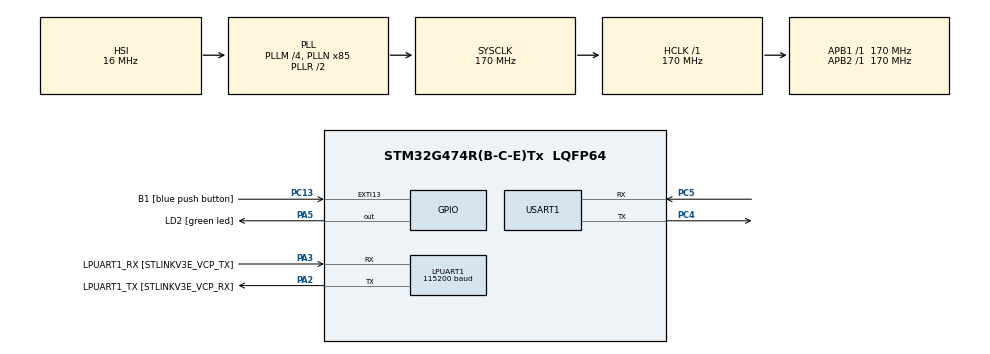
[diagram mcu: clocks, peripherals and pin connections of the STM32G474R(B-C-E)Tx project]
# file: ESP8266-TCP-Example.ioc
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Mcu.Family=STM32G4
PC15-OSC32_OUT.Mode=LSE-External-Oscillator
RCC.CortexFreq_Value=170000000
PC13.Signal=GPXTI13
PA14.GPIO_Label=T_SWCLK
PC4.Signal=USART1_TX
LPUART1.WordLength=UART_WORDLENGTH_8B
RCC.EXTERNAL_CLOCK_VALUE=12288000
PC5.Mode=Asynchronous
PC13.GPIO_Label=B1 [blue push button]
PC14-OSC32_IN.Signal=RCC_OSC32_IN
RCC.SYSCLKSource=RCC_SYSCLKSOURCE_PLLCLK
ProjectManager.StackSize=0x400
USART1.VirtualMode-Asynchronous=VM_ASYNC
PA13.Signal=SYS_JTMS-SWDIO
PA3.Mode=Asynchronous
ProjectManager.TargetToolchain=STM32CubeIDE
RCC.HCLKFreq_Value=170000000
RCC.APB2TimFreq_Value=170000000
RCC.USBFreq_Value=170000000
PC15-OSC32_OUT.Signal=RCC_OSC32_OUT
RCC.AHBFreq_Value=170000000
PF0-OSC_IN.Mode=HSE-External-Oscillator
NVIC.EXTI15_10_IRQn=true\:0\:0\:false\:false\:true\:true\:true
PA5.Signal=GPIO_Output
RCC.HSE_VALUE=24000000
board=NUCLEO-G474RE
RCC.VCOOutputFreq_Value=340000000
RCC.ADC12Freq_Value=170000000
RCC.RTCClockSelection=RCC_RTCCLKSOURCE_LSE
RCC.ADC345Freq_Value=170000000
RCC.APB2Freq_Value=170000000
PC14-OSC32_IN.Mode=LSE-External-Oscillator
PA14.Mode=Serial_Wire
VP_SYS_VS_DBSignals.Mode=DisableDeadBatterySignals
PA13.Mode=Serial_Wire
Mcu.Name=STM32G474R(B-C-E)Tx
LPUART1.BaudRate=115200
PA2.Signal=LPUART1_TX
PA13.GPIO_Label=T_SWDIO
PB3.Signal=SYS_JTDO-SWO
RCC.SYSCLKFreq_VALUE=170000000
Mcu.Package=LQFP64
PA5.GPIO_Label=LD2 [green led]
PA2.GPIO_Label=LPUART1_TX [STLINKV3E_VCP_RX]
PA14.Signal=SYS_JTCK-SWCLK
ProjectManager.HeapSize=0x200
RCC.HSI_VALUE=16000000
NVIC.PriorityGroup=NVIC_PRIORITYGROUP_4
RCC.PLLM=RCC_PLLM_DIV4
RCC.PLLN=85
RCC.APB1TimFreq_Value=170000000
PA2.Mode=Asynchronous
PC5.Signal=USART1_RX
PF0-OSC_IN.Signal=RCC_OSC_IN
NVIC.USART1_IRQn=true\:0\:0\:false\:false\:true\:true\:true
PF1-OSC_OUT.Mode=HSE-External-Oscillator
RCC.APB1Freq_Value=170000000
PF1-OSC_OUT.Signal=RCC_OSC_OUT
PC4.Mode=Asynchronous
RCC.HSI48_VALUE=48000000
PA3.GPIO_Label=LPUART1_RX [STLINKV3E_VCP_TX]
PA3.Signal=LPUART1_RX
PB3.GPIO_Label=T_SWO

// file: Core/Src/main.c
/* USER CODE BEGIN Header */
/**
  ******************************************************************************
  * @file           : main.c
  * @brief          : Main program body
  ******************************************************************************
  * @attention
  *
  * <h2><center>&copy; Copyright (c) 2022 STMicroelectronics.
  * All rights reserved.</center></h2>
  *
  * This software component is licensed by ST under BSD 3-Clause license,
  * the "License"; You may not use this file except in compliance with the
  * License. You may obtain a copy of the License at:
  *                        opensource.org/licenses/BSD-3-Clause
  *
  ******************************************************************************
  */
/* USER CODE END Header */
#include "main.h"

/* USER CODE BEGIN Includes */
#include <string.h>
#include "esp8266.h"
/* USER CODE END Includes */

UART_HandleTypeDef hlpuart1;
UART_HandleTypeDef huart1;

void SystemClock_Config(void);
static void MX_GPIO_Init(void);
static void MX_LPUART1_UART_Init(void);
static void MX_USART1_UART_Init(void);

/* USER CODE BEGIN 0 */

void UART_SendMessage(uint8_t* messageArray)
{

	while(*messageArray)
	{
		USART1->TDR = *messageArray++;
		while(!(USART1->ISR & (1<<6)));		// wait for transmit register(TC) to set.
	}
/* with HAL drivers-----------------------*/
//	HAL_UART_Transmit(&huart1, messageArray, strlen((char*)messageArray), HAL_MAX_DELAY);
}
uint8_t UART_ReceiveByte(void)
{

	return USART1->RDR;
/* with HAL drivers-----------------------*/
//	uint8_t buffer[10];
//
//	HAL_UART_Receive(&huart1, &buffer, 1, HAL_MAX_DELAY);
//
//	return buffer[0];
}

void USART1_IRQHandler(void)
{
	  if(!(USART2->ISR & (1<<5)))			// rx interrupt
	  {
		 ESP_UART_ReceiveHandler(); 		// ESP receive handler function.
	  }
}
/* USER CODE END 0 */

int main(void)
{

  /* MCU Configuration--------------------------------------------------------*/

  /* Reset of all peripherals, Initializes the Flash interface and the Systick. */
  HAL_Init();

  /* Configure the system clock */
  SystemClock_Config();

  /* Initialize all configured peripherals */
  MX_GPIO_Init();
  MX_LPUART1_UART_Init();
  MX_USART1_UART_Init();

  /* Infinite loop */
  /* USER CODE BEGIN WHILE */
  while(!HAL_GPIO_ReadPin(B1_GPIO_Port, B1_Pin));		// Start button

  USART1->CR1 |= (1<<5); // rx interrupt enable

  ESP_Init(UART_SendMessage,	// UART transmit function
		  UART_ReceiveByte,		// UART receive function
		  HAL_GetTick,			// get tick function
		  255					// UART ring buffer size
		  );

  while(1)
  {
	  Status connectionStatus = Connect_Wifi("İZZETPASA", "misafir3434");

	  if(connectionStatus == STATUS_OK)
		  break;
	  else if(connectionStatus == STATUS_ERROR || connectionStatus == TIMEOUT_ERROR)
	  {
		  Error_Handler();
	  }
  }

  while(Connect_TCP_Server("192.168.88.183", "255") == IDLE);

  while(Send_TCP_Message("Test message") == IDLE);

  char receivedCommand[50];
  while (1)
  {
	  if(Read_TCP_Message(receivedCommand) == STATUS_OK)
	  {

		  if(strcmp(receivedCommand,"MOTOR_ON") == 0)
		  {
			  while(Send_TCP_Message("MOTOR_ON command has been detected.\n") == IDLE);

			  	  	  	  	  	  // do something else
		  }
		  else if(strcmp(receivedCommand,"MOTOR_OFF") == 0)
		  {
			  while(Send_TCP_Message("MOTOR_OFF command has been detected.\n") == IDLE);
			  	  	  	  	  	  	  	  // do something else
		  }
		  else if(strcmp(receivedCommand,"LED_ON") == 0)
		  {
			  HAL_GPIO_WritePin(LD2_GPIO_Port, LD2_Pin, 1);
		  }
		  else if(strcmp(receivedCommand,"LED_OFF") == 0)
		  {
			  HAL_GPIO_WritePin(LD2_GPIO_Port, LD2_Pin, 0);
		  }
		  else
		  {
			  while(Send_TCP_Message("Invalid command!\n") == IDLE);
		  }
		  memset(receivedCommand,0,50);		// clear the received command buffer
	  }

	  HAL_Delay(100);

    /* USER CODE END WHILE */

  }
}

void SystemClock_Config(void)
{
  RCC_OscInitTypeDef RCC_OscInitStruct = {0};
  RCC_ClkInitTypeDef RCC_ClkInitStruct = {0};
  RCC_PeriphCLKInitTypeDef PeriphClkInit = {0};

  /** Configure the main internal regulator output voltage
  */
  HAL_PWREx_ControlVoltageScaling(PWR_REGULATOR_VOLTAGE_SCALE1_BOOST);
  /** Initializes the RCC Oscillators according to the specified parameters
  * in the RCC_OscInitTypeDef structure.
  */
  RCC_OscInitStruct.OscillatorType = RCC_OSCILLATORTYPE_HSI;
  RCC_OscInitStruct.HSIState = RCC_HSI_ON;
  RCC_OscInitStruct.HSICalibrationValue = RCC_HSICALIBRATION_DEFAULT;
  RCC_OscInitStruct.PLL.PLLState = RCC_PLL_ON;
  RCC_OscInitStruct.PLL.PLLSource = RCC_PLLSOURCE_HSI;
  RCC_OscInitStruct.PLL.PLLM = RCC_PLLM_DIV4;
  RCC_OscInitStruct.PLL.PLLN = 85;
  RCC_OscInitStruct.PLL.PLLP = RCC_PLLP_DIV2;
  RCC_OscInitStruct.PLL.PLLQ = RCC_PLLQ_DIV2;
  RCC_OscInitStruct.PLL.PLLR = RCC_PLLR_DIV2;
  if (HAL_RCC_OscConfig(&RCC_OscInitStruct) != HAL_OK)
  {
    Error_Handler();
  }
  /** Initializes the CPU, AHB and APB buses clocks
  */
  RCC_ClkInitStruct.ClockType = RCC_CLOCKTYPE_HCLK|RCC_CLOCKTYPE_SYSCLK
                              |RCC_CLOCKTYPE_PCLK1|RCC_CLOCKTYPE_PCLK2;
  RCC_ClkInitStruct.SYSCLKSource = RCC_SYSCLKSOURCE_PLLCLK;
  RCC_ClkInitStruct.AHBCLKDivider = RCC_SYSCLK_DIV1;
  RCC_ClkInitStruct.APB1CLKDivider = RCC_HCLK_DIV1;
  RCC_ClkInitStruct.APB2CLKDivider = RCC_HCLK_DIV1;

  if (HAL_RCC_ClockConfig(&RCC_ClkInitStruct, FLASH_LATENCY_4) != HAL_OK)
  {
    Error_Handler();
  }
  /** Initializes the peripherals clocks
  */
  PeriphClkInit.PeriphClockSelection = RCC_PERIPHCLK_USART1|RCC_PERIPHCLK_LPUART1;
  PeriphClkInit.Usart1ClockSelection = RCC_USART1CLKSOURCE_PCLK2;
  PeriphClkInit.Lpuart1ClockSelection = RCC_LPUART1CLKSOURCE_PCLK1;
  if (HAL_RCCEx_PeriphCLKConfig(&PeriphClkInit) != HAL_OK)
  {
    Error_Handler();
  }
}

static void MX_LPUART1_UART_Init(void)
{

  hlpuart1.Instance = LPUART1;
  hlpuart1.Init.BaudRate = 115200;
  hlpuart1.Init.WordLength = UART_WORDLENGTH_8B;
  hlpuart1.Init.StopBits = UART_STOPBITS_1;
  hlpuart1.Init.Parity = UART_PARITY_NONE;
  hlpuart1.Init.Mode = UART_MODE_TX_RX;
  hlpuart1.Init.HwFlowCtl = UART_HWCONTROL_NONE;
  hlpuart1.Init.OneBitSampling = UART_ONE_BIT_SAMPLE_DISABLE;
  hlpuart1.Init.ClockPrescaler = UART_PRESCALER_DIV1;
  hlpuart1.AdvancedInit.AdvFeatureInit = UART_ADVFEATURE_NO_INIT;
  if (HAL_UART_Init(&hlpuart1) != HAL_OK)
  {
    Error_Handler();
  }
  if (HAL_UARTEx_SetTxFifoThreshold(&hlpuart1, UART_TXFIFO_THRESHOLD_1_8) != HAL_OK)
  {
    Error_Handler();
  }
  if (HAL_UARTEx_SetRxFifoThreshold(&hlpuart1, UART_RXFIFO_THRESHOLD_1_8) != HAL_OK)
  {
    Error_Handler();
  }
  if (HAL_UARTEx_DisableFifoMode(&hlpuart1) != HAL_OK)
  {
    Error_Handler();
  }

}

static void MX_USART1_UART_Init(void)
{

  huart1.Instance = USART1;
  huart1.Init.BaudRate = 115200;
  huart1.Init.WordLength = UART_WORDLENGTH_8B;
  huart1.Init.StopBits = UART_STOPBITS_1;
  huart1.Init.Parity = UART_PARITY_NONE;
  huart1.Init.Mode = UART_MODE_TX_RX;
  huart1.Init.HwFlowCtl = UART_HWCONTROL_NONE;
  huart1.Init.OverSampling = UART_OVERSAMPLING_16;
  huart1.Init.OneBitSampling = UART_ONE_BIT_SAMPLE_DISABLE;
  huart1.Init.ClockPrescaler = UART_PRESCALER_DIV1;
  huart1.AdvancedInit.AdvFeatureInit = UART_ADVFEATURE_NO_INIT;
  if (HAL_UART_Init(&huart1) != HAL_OK)
  {
    Error_Handler();
  }
  if (HAL_UARTEx_SetTxFifoThreshold(&huart1, UART_TXFIFO_THRESHOLD_1_8) != HAL_OK)
  {
    Error_Handler();
  }
  if (HAL_UARTEx_SetRxFifoThreshold(&huart1, UART_RXFIFO_THRESHOLD_1_8) != HAL_OK)
  {
    Error_Handler();
  }
  if (HAL_UARTEx_DisableFifoMode(&huart1) != HAL_OK)
  {
    Error_Handler();
  }

}

static void MX_GPIO_Init(void)
{
  GPIO_InitTypeDef GPIO_InitStruct = {0};

  /* GPIO Ports Clock Enable */
  __HAL_RCC_GPIOC_CLK_ENABLE();
  __HAL_RCC_GPIOF_CLK_ENABLE();
  __HAL_RCC_GPIOA_CLK_ENABLE();
  __HAL_RCC_GPIOB_CLK_ENABLE();

  /*Configure GPIO pin Output Level */
  HAL_GPIO_WritePin(LD2_GPIO_Port, LD2_Pin, GPIO_PIN_RESET);

  /*Configure GPIO pin : B1_Pin */
  GPIO_InitStruct.Pin = B1_Pin;
  GPIO_InitStruct.Mode = GPIO_MODE_IT_RISING;
  GPIO_InitStruct.Pull = GPIO_NOPULL;
  HAL_GPIO_Init(B1_GPIO_Port, &GPIO_InitStruct);

  /*Configure GPIO pin : LD2_Pin */
  GPIO_InitStruct.Pin = LD2_Pin;
  GPIO_InitStruct.Mode = GPIO_MODE_OUTPUT_PP;
  GPIO_InitStruct.Pull = GPIO_NOPULL;
  GPIO_InitStruct.Speed = GPIO_SPEED_FREQ_LOW;
  HAL_GPIO_Init(LD2_GPIO_Port, &GPIO_InitStruct);

  /* EXTI interrupt init*/
  HAL_NVIC_SetPriority(EXTI15_10_IRQn, 0, 0);
  HAL_NVIC_EnableIRQ(EXTI15_10_IRQn);

}

void Error_Handler(void)
{
  __disable_irq();
  while (1)
  {
  }
}

/************************ (C) COPYRIGHT STMicroelectronics *****END OF FILE****/
